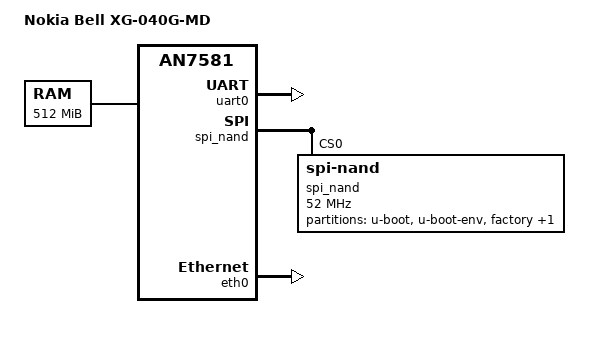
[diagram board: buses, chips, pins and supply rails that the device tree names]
/dts-v1/;

#include "an7581.dtsi"

/ {
	model = "Nokia Bell XG-040G-MD";
	compatible = "nokia,xg-040g-md", "airoha,an7581";

	aliases {
		serial0 = &uart0;
	};

	chosen {
		stdout-path = "serial0:115200n8";
	};

	// 强制定义内存为 512MB
	// 起始地址 0x40000000，大小 0x20000000 (512M)
	memory@40000000 {
		device_type = "memory";
		reg = <0x0 0x40000000 0x0 0x20000000>;
	};
};

&uart0 {
	status = "okay";
};

&spi_nand {
	status = "okay";
	pinctrl-names = "default";
	pinctrl-0 = <&spi_nand_pins>;

	spi_nand@0 {
		compatible = "spi-nand";
		reg = <0>;
		spi-max-frequency = <52000000>;

		partitions {
			compatible = "fixed-partitions";
			#address-cells = <1>;
			#size-cells = <1>;

			// --- 警告：分区表需要根据原厂固件调整 ---
			// 下面是通用的 OpenWrt SPI-NAND 布局
			
			partition@0 {
				label = "u-boot";
				reg = <0x0 0x100000>; // 1MB
				read-only;
			};

			partition@100000 {
				label = "u-boot-env";
				reg = <0x100000 0x80000>; // 512KB
			};

			partition@180000 {
				label = "factory";
				reg = <0x180000 0x200000>; // 2MB (存放WiFi校准)
				read-only;
			};

			partition@380000 {
				label = "firmware";
				reg = <0x380000 0xFC80000>; // 剩余空间
			};
		};
	};
};

&eth0 {
	status = "okay";
};
